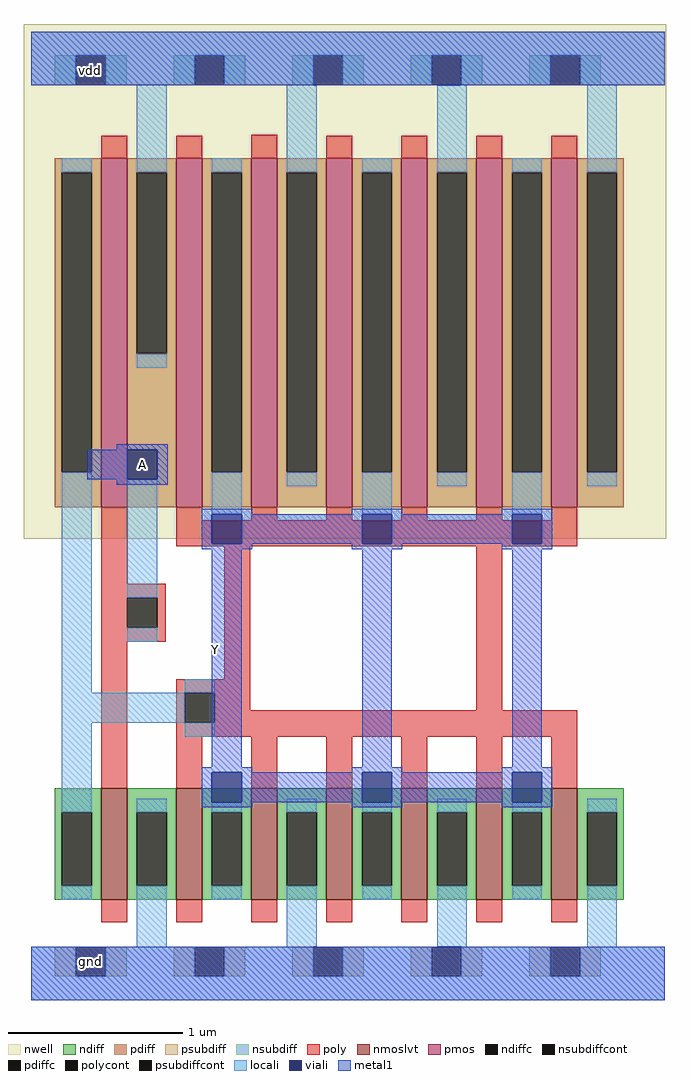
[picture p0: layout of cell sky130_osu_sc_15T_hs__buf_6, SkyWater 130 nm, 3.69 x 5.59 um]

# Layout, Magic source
magic
tech sky130A
magscale 1 2
<< nwell >>
rect -9 529 728 1119
<< nmoslvt >>
rect 80 115 110 243
rect 166 115 196 243
rect 252 115 282 243
rect 338 115 368 243
rect 424 115 454 243
rect 510 115 540 243
rect 596 115 626 243
<< pmos >>
rect 80 565 110 965
rect 166 565 196 965
rect 252 565 282 965
rect 338 565 368 965
rect 424 565 454 965
rect 510 565 540 965
rect 596 565 626 965
<< ndiff >>
rect 27 215 80 243
rect 27 131 35 215
rect 69 131 80 215
rect 27 115 80 131
rect 110 215 166 243
rect 110 131 121 215
rect 155 131 166 215
rect 110 115 166 131
rect 196 215 252 243
rect 196 131 207 215
rect 241 131 252 215
rect 196 115 252 131
rect 282 215 338 243
rect 282 131 293 215
rect 327 131 338 215
rect 282 115 338 131
rect 368 215 424 243
rect 368 131 379 215
rect 413 131 424 215
rect 368 115 424 131
rect 454 215 510 243
rect 454 131 465 215
rect 499 131 510 215
rect 454 115 510 131
rect 540 215 596 243
rect 540 131 551 215
rect 585 131 596 215
rect 540 115 596 131
rect 626 215 679 243
rect 626 131 637 215
rect 671 131 679 215
rect 626 115 679 131
<< pdiff >>
rect 27 949 80 965
rect 27 605 35 949
rect 69 605 80 949
rect 27 565 80 605
rect 110 949 166 965
rect 110 741 121 949
rect 155 741 166 949
rect 110 565 166 741
rect 196 949 252 965
rect 196 605 207 949
rect 241 605 252 949
rect 196 565 252 605
rect 282 949 338 965
rect 282 605 293 949
rect 327 605 338 949
rect 282 565 338 605
rect 368 949 424 965
rect 368 605 379 949
rect 413 605 424 949
rect 368 565 424 605
rect 454 949 510 965
rect 454 605 465 949
rect 499 605 510 949
rect 454 565 510 605
rect 540 949 596 965
rect 540 605 551 949
rect 585 605 596 949
rect 540 565 596 605
rect 626 949 679 965
rect 626 605 637 949
rect 671 605 679 949
rect 626 565 679 605
<< ndiffc >>
rect 35 131 69 215
rect 121 131 155 215
rect 207 131 241 215
rect 293 131 327 215
rect 379 131 413 215
rect 465 131 499 215
rect 551 131 585 215
rect 637 131 671 215
<< pdiffc >>
rect 35 605 69 949
rect 121 741 155 949
rect 207 605 241 949
rect 293 605 327 949
rect 379 605 413 949
rect 465 605 499 949
rect 551 605 585 949
rect 637 605 671 949
<< psubdiff >>
rect 27 27 51 61
rect 85 27 109 61
rect 163 27 187 61
rect 221 27 245 61
rect 299 27 323 61
rect 357 27 381 61
rect 435 27 459 61
rect 493 27 517 61
rect 571 27 595 61
rect 629 27 653 61
<< nsubdiff >>
rect 27 1049 51 1083
rect 85 1049 109 1083
rect 163 1049 187 1083
rect 221 1049 245 1083
rect 299 1049 323 1083
rect 357 1049 381 1083
rect 435 1049 459 1083
rect 493 1049 517 1083
rect 571 1049 595 1083
rect 629 1049 653 1083
<< psubdiffcont >>
rect 51 27 85 61
rect 187 27 221 61
rect 323 27 357 61
rect 459 27 493 61
rect 595 27 629 61
<< nsubdiffcont >>
rect 51 1049 85 1083
rect 187 1049 221 1083
rect 323 1049 357 1083
rect 459 1049 493 1083
rect 595 1049 629 1083
<< poly >>
rect 80 965 110 991
rect 166 965 196 991
rect 252 965 282 992
rect 338 965 368 991
rect 424 965 454 991
rect 510 965 540 991
rect 596 965 626 991
rect 80 477 110 565
rect 166 550 196 565
rect 252 550 282 565
rect 338 550 368 565
rect 424 550 454 565
rect 510 550 540 565
rect 596 550 626 565
rect 166 520 626 550
rect 80 461 154 477
rect 80 427 110 461
rect 144 427 154 461
rect 80 411 154 427
rect 80 243 110 411
rect 221 368 251 520
rect 166 352 251 368
rect 166 318 176 352
rect 210 332 251 352
rect 510 332 540 520
rect 210 318 626 332
rect 166 302 626 318
rect 166 243 196 302
rect 252 243 282 302
rect 338 243 368 302
rect 424 243 454 302
rect 510 243 540 302
rect 596 243 626 302
rect 80 89 110 115
rect 166 89 196 115
rect 252 89 282 115
rect 338 89 368 115
rect 424 89 454 115
rect 510 89 540 115
rect 596 89 626 115
<< polycont >>
rect 110 427 144 461
rect 176 318 210 352
<< locali >>
rect 0 1083 726 1110
rect 0 1049 51 1083
rect 85 1049 187 1083
rect 221 1049 323 1083
rect 357 1049 459 1083
rect 493 1049 595 1083
rect 629 1049 726 1083
rect 35 949 69 965
rect 121 949 155 1049
rect 121 725 155 741
rect 207 949 241 965
rect 35 352 69 605
rect 110 461 144 597
rect 207 557 241 605
rect 293 949 327 1049
rect 293 589 327 605
rect 379 949 413 965
rect 379 557 413 605
rect 465 949 499 1049
rect 465 589 499 605
rect 551 949 585 965
rect 551 557 585 605
rect 637 949 671 1049
rect 637 589 671 605
rect 110 411 144 427
rect 176 352 210 368
rect 35 318 176 352
rect 35 215 69 318
rect 176 302 210 318
rect 35 115 69 131
rect 121 215 155 231
rect 121 61 155 131
rect 207 215 241 227
rect 207 115 241 131
rect 293 215 327 231
rect 293 61 327 131
rect 379 215 413 227
rect 379 115 413 131
rect 465 215 499 231
rect 465 61 499 131
rect 551 215 585 227
rect 551 115 585 131
rect 637 215 671 231
rect 637 61 671 131
rect 0 27 51 61
rect 85 27 187 61
rect 221 27 323 61
rect 357 27 459 61
rect 493 27 595 61
rect 629 27 726 61
rect 0 0 726 27
<< viali >>
rect 110 597 144 631
rect 207 523 241 557
rect 379 523 413 557
rect 551 523 585 557
rect 207 227 241 261
rect 379 227 413 261
rect 551 227 585 261
<< metal1 >>
rect 0 1049 726 1110
rect 98 631 156 637
rect 64 597 110 631
rect 144 597 156 631
rect 98 591 156 597
rect 195 557 253 563
rect 367 557 425 563
rect 539 557 597 563
rect 195 523 207 557
rect 241 523 379 557
rect 413 523 551 557
rect 585 523 597 557
rect 195 517 253 523
rect 367 517 425 523
rect 539 517 597 523
rect 207 267 241 517
rect 379 267 413 517
rect 551 267 585 517
rect 195 261 253 267
rect 367 261 425 267
rect 539 261 597 267
rect 195 227 207 261
rect 241 227 379 261
rect 413 227 551 261
rect 585 227 597 261
rect 195 221 253 227
rect 367 221 425 227
rect 539 221 597 227
rect 0 0 726 61
<< labels >>
rlabel viali 127 614 127 614 1 A
port 1 n
rlabel metal1 211 402 211 402 1 Y
port 2 n
rlabel metal1 68 44 68 44 1 gnd
rlabel metal1 68 1066 68 1066 1 vdd
<< end >>
